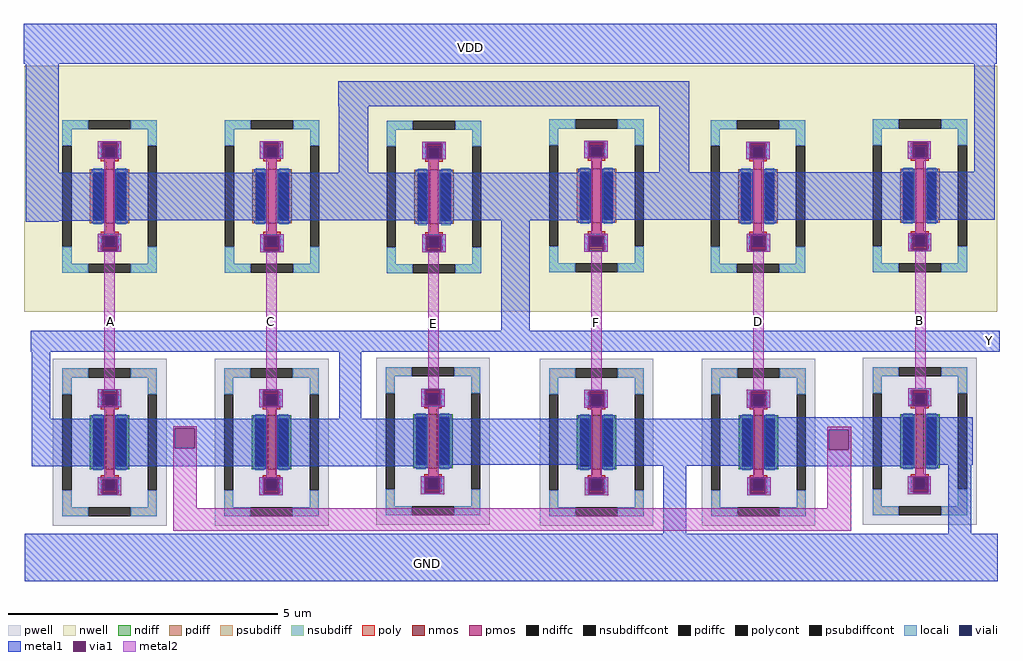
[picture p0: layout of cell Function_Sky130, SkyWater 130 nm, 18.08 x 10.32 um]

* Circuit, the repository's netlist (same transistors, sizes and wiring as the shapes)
** sch_path: /home/coold69/Documents/msvsdspwm/Week 1/xschem/Function_Sky130.sch
**.subckt Function_Sky130 A A B C C D E F B D E F E F C D A B
*.ipin A
*.ipin A
*.ipin B
*.ipin C
*.ipin C
*.ipin D
*.ipin E
*.ipin F
*.ipin B
*.ipin D
*.ipin E
*.ipin F
*.ipin E
*.ipin F
*.ipin C
*.ipin D
*.ipin A
*.ipin B
XM1 net2 B GND GND sky130_fd_pr__nfet_01v8 L=0.15 W=1 nf=1 ad='int((nf+1)/2) * W/nf * 0.29' as='int((nf+2)/2) * W/nf * 0.29'
+ pd='2*int((nf+1)/2) * (W/nf + 0.29)' ps='2*int((nf+2)/2) * (W/nf + 0.29)' nrd='0.29 / W' nrs='0.29 / W'
+ sa=0 sb=0 sd=0 mult=1 m=1
XM2 net2 D GND GND sky130_fd_pr__nfet_01v8 L=0.15 W=1 nf=1 ad='int((nf+1)/2) * W/nf * 0.29' as='int((nf+2)/2) * W/nf * 0.29'
+ pd='2*int((nf+1)/2) * (W/nf + 0.29)' ps='2*int((nf+2)/2) * (W/nf + 0.29)' nrd='0.29 / W' nrs='0.29 / W'
+ sa=0 sb=0 sd=0 mult=1 m=1
XM3 net1 F GND GND sky130_fd_pr__nfet_01v8 L=0.15 W=1 nf=1 ad='int((nf+1)/2) * W/nf * 0.29' as='int((nf+2)/2) * W/nf * 0.29'
+ pd='2*int((nf+1)/2) * (W/nf + 0.29)' ps='2*int((nf+2)/2) * (W/nf + 0.29)' nrd='0.29 / W' nrs='0.29 / W'
+ sa=0 sb=0 sd=0 mult=1 m=1
XM4 Y A net2 net2 sky130_fd_pr__nfet_01v8 L=0.15 W=1 nf=1 ad='int((nf+1)/2) * W/nf * 0.29' as='int((nf+2)/2) * W/nf * 0.29'
+ pd='2*int((nf+1)/2) * (W/nf + 0.29)' ps='2*int((nf+2)/2) * (W/nf + 0.29)' nrd='0.29 / W' nrs='0.29 / W'
+ sa=0 sb=0 sd=0 mult=1 m=1
XM5 Y C net2 net2 sky130_fd_pr__nfet_01v8 L=0.15 W=1 nf=1 ad='int((nf+1)/2) * W/nf * 0.29' as='int((nf+2)/2) * W/nf * 0.29'
+ pd='2*int((nf+1)/2) * (W/nf + 0.29)' ps='2*int((nf+2)/2) * (W/nf + 0.29)' nrd='0.29 / W' nrs='0.29 / W'
+ sa=0 sb=0 sd=0 mult=1 m=1
XM6 Y E net1 net1 sky130_fd_pr__nfet_01v8 L=0.15 W=1 nf=1 ad='int((nf+1)/2) * W/nf * 0.29' as='int((nf+2)/2) * W/nf * 0.29'
+ pd='2*int((nf+1)/2) * (W/nf + 0.29)' ps='2*int((nf+2)/2) * (W/nf + 0.29)' nrd='0.29 / W' nrs='0.29 / W'
+ sa=0 sb=0 sd=0 mult=1 m=1
XM7 Y E net3 net3 sky130_fd_pr__pfet_01v8 L=0.15 W=1 nf=1 ad='int((nf+1)/2) * W/nf * 0.29' as='int((nf+2)/2) * W/nf * 0.29'
+ pd='2*int((nf+1)/2) * (W/nf + 0.29)' ps='2*int((nf+2)/2) * (W/nf + 0.29)' nrd='0.29 / W' nrs='0.29 / W'
+ sa=0 sb=0 sd=0 mult=1 m=1
XM8 Y F net3 net3 sky130_fd_pr__pfet_01v8 L=0.15 W=1 nf=1 ad='int((nf+1)/2) * W/nf * 0.29' as='int((nf+2)/2) * W/nf * 0.29'
+ pd='2*int((nf+1)/2) * (W/nf + 0.29)' ps='2*int((nf+2)/2) * (W/nf + 0.29)' nrd='0.29 / W' nrs='0.29 / W'
+ sa=0 sb=0 sd=0 mult=1 m=1
XM9 net3 C net4 net4 sky130_fd_pr__pfet_01v8 L=0.15 W=1 nf=1 ad='int((nf+1)/2) * W/nf * 0.29' as='int((nf+2)/2) * W/nf * 0.29'
+ pd='2*int((nf+1)/2) * (W/nf + 0.29)' ps='2*int((nf+2)/2) * (W/nf + 0.29)' nrd='0.29 / W' nrs='0.29 / W'
+ sa=0 sb=0 sd=0 mult=1 m=1
XM10 net4 A VDD VDD sky130_fd_pr__pfet_01v8 L=0.15 W=1 nf=1 ad='int((nf+1)/2) * W/nf * 0.29' as='int((nf+2)/2) * W/nf * 0.29'
+ pd='2*int((nf+1)/2) * (W/nf + 0.29)' ps='2*int((nf+2)/2) * (W/nf + 0.29)' nrd='0.29 / W' nrs='0.29 / W'
+ sa=0 sb=0 sd=0 mult=1 m=1
XM11 net3 D net5 net5 sky130_fd_pr__pfet_01v8 L=0.15 W=1 nf=1 ad='int((nf+1)/2) * W/nf * 0.29' as='int((nf+2)/2) * W/nf * 0.29'
+ pd='2*int((nf+1)/2) * (W/nf + 0.29)' ps='2*int((nf+2)/2) * (W/nf + 0.29)' nrd='0.29 / W' nrs='0.29 / W'
+ sa=0 sb=0 sd=0 mult=1 m=1
XM12 net5 B VDD VDD sky130_fd_pr__pfet_01v8 L=0.15 W=1 nf=1 ad='int((nf+1)/2) * W/nf * 0.29' as='int((nf+2)/2) * W/nf * 0.29'
+ pd='2*int((nf+1)/2) * (W/nf + 0.29)' ps='2*int((nf+2)/2) * (W/nf + 0.29)' nrd='0.29 / W' nrs='0.29 / W'
+ sa=0 sb=0 sd=0 mult=1 m=1
Vdd VDD GND 1.8
.save i(vdd)
Vdd1 A GND pulse(0 1.8 0.1n 10p 10p 1n 2n)
.save i(vdd1)
Vdd2 B GND pulse(0 1.8 0.2n 10p 10p 1n 2n)
.save i(vdd2)
Vdd3 C GND pulse(0 1.8 0.3n 10p 10p 1n 2n)
.save i(vdd3)
Vdd4 D GND pulse(0 1.8 0.4n 10p 10p 1n 2n)
.save i(vdd4)
Vdd5 E GND pulse(0 1.8 0.5n 10p 10p 1n 2n)
.save i(vdd5)
Vdd6 F GND pulse(0 1.8 0.6n 10p 10p 1n 2n)
.save i(vdd6)
**** begin user architecture code


.lib ~/open_pdks/sources/sky130-pdk/libraries/sky130_fd_pr/latest/models/sky130.lib.spice tt
.control
save all
tran 10p 4n
plot y
.endc

**** end user architecture code
**.ends
.GLOBAL GND
.GLOBAL VDD
.end

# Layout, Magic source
magic
tech sky130A
magscale 1 2
<< nwell >>
rect -208 2020 3398 2704
rect -208 1946 542 2020
rect 574 1946 3398 2020
rect -208 1792 3398 1946
<< metal1 >>
rect -210 2710 3396 2858
rect -202 2306 -80 2710
rect 956 2554 2256 2646
rect 66 2420 152 2424
rect 66 2362 82 2420
rect 138 2362 152 2420
rect 66 2358 152 2362
rect 666 2420 752 2424
rect 666 2362 680 2420
rect 736 2362 752 2420
rect 666 2358 752 2362
rect 958 2306 1068 2554
rect 1868 2422 1954 2426
rect 1268 2416 1354 2422
rect 1268 2358 1284 2416
rect 1340 2358 1354 2416
rect 1868 2364 1884 2422
rect 1940 2364 1954 2422
rect 1868 2360 1954 2364
rect 1268 2356 1354 2358
rect 2146 2308 2256 2554
rect 2468 2418 2554 2422
rect 2468 2360 2482 2418
rect 2538 2360 2554 2418
rect 2468 2356 2554 2360
rect 3066 2420 3152 2424
rect 3066 2362 3084 2420
rect 3140 2362 3152 2420
rect 3066 2358 3152 2362
rect 3312 2310 3388 2710
rect -202 2128 82 2306
rect 136 2130 686 2306
rect 738 2130 1288 2306
rect 1340 2130 1890 2306
rect 1942 2132 2492 2308
rect 2538 2132 3088 2308
rect 3138 2132 3388 2310
rect -202 2126 -80 2128
rect 66 2074 152 2080
rect 66 2016 82 2074
rect 138 2016 152 2074
rect 66 2014 152 2016
rect 668 2074 754 2078
rect 668 2016 682 2074
rect 738 2016 754 2074
rect 668 2012 754 2016
rect 1268 2074 1354 2078
rect 1268 2016 1282 2074
rect 1338 2016 1354 2074
rect 1268 2012 1354 2016
rect 1560 1722 1666 2130
rect 1868 2074 1954 2080
rect 1868 2016 1884 2074
rect 1940 2016 1954 2074
rect 1868 2014 1954 2016
rect 2470 2076 2556 2080
rect 2470 2018 2484 2076
rect 2540 2018 2556 2076
rect 2470 2014 2556 2018
rect 3068 2078 3154 2082
rect 3068 2020 3082 2078
rect 3138 2020 3154 2078
rect 3068 2016 3154 2020
rect -184 1644 3406 1722
rect -180 1396 -110 1644
rect 66 1502 152 1504
rect 66 1444 82 1502
rect 138 1444 152 1502
rect 66 1438 152 1444
rect 664 1500 750 1504
rect 664 1442 678 1500
rect 734 1442 750 1500
rect 664 1438 750 1442
rect 960 1396 1042 1644
rect 1264 1504 1350 1506
rect 1264 1446 1278 1504
rect 1334 1446 1350 1504
rect 1264 1440 1350 1446
rect 1868 1498 1954 1502
rect 1868 1440 1886 1498
rect 1942 1440 1954 1498
rect 1868 1436 1954 1440
rect 2470 1498 2556 1502
rect 2470 1440 2484 1498
rect 2540 1440 2556 1498
rect 3068 1500 3154 1508
rect 3068 1442 3082 1500
rect 3138 1442 3154 1500
rect 2470 1436 2556 1440
rect -180 1220 84 1396
rect 136 1360 682 1396
rect 136 1286 350 1360
rect 424 1286 682 1360
rect 136 1220 682 1286
rect 736 1220 1282 1396
rect 1334 1224 1886 1396
rect 1940 1222 2486 1396
rect 2540 1354 3084 1400
rect 2540 1280 2774 1354
rect 2848 1280 3084 1354
rect 1262 1178 1348 1182
rect 66 1172 152 1178
rect 66 1114 82 1172
rect 138 1114 152 1172
rect 66 1112 152 1114
rect 664 1174 750 1178
rect 664 1116 680 1174
rect 736 1116 750 1174
rect 1262 1120 1276 1178
rect 1332 1120 1348 1178
rect 1262 1116 1348 1120
rect 1870 1174 1956 1178
rect 1870 1116 1884 1174
rect 1940 1116 1956 1174
rect 664 1112 750 1116
rect 1870 1112 1956 1116
rect 2160 970 2246 1222
rect 2540 1220 3084 1280
rect 3138 1224 3306 1400
rect 3066 1180 3152 1182
rect 2472 1174 2558 1178
rect 2472 1116 2482 1174
rect 2538 1116 2558 1174
rect 3066 1122 3086 1180
rect 3142 1122 3152 1180
rect 3066 1116 3152 1122
rect 2472 1112 2558 1116
rect 3216 970 3302 1224
rect -206 794 3400 970
<< via1 >>
rect 82 2362 138 2420
rect 680 2362 736 2420
rect 1284 2358 1340 2416
rect 1884 2364 1940 2422
rect 2482 2360 2538 2418
rect 3084 2362 3140 2420
rect 82 2016 138 2074
rect 682 2016 738 2074
rect 1282 2016 1338 2074
rect 1884 2016 1940 2074
rect 2484 2018 2540 2076
rect 3082 2020 3138 2078
rect 82 1444 138 1502
rect 678 1442 734 1500
rect 1278 1446 1334 1504
rect 1886 1440 1942 1498
rect 2484 1440 2540 1498
rect 3082 1442 3138 1500
rect 350 1286 424 1360
rect 2774 1280 2848 1354
rect 82 1114 138 1172
rect 680 1116 736 1174
rect 1276 1120 1332 1178
rect 1884 1116 1940 1174
rect 2482 1116 2538 1174
rect 3086 1122 3142 1180
<< metal2 >>
rect 66 2420 152 2424
rect 66 2362 82 2420
rect 138 2362 152 2420
rect 66 2358 152 2362
rect 666 2420 752 2424
rect 1868 2422 1954 2426
rect 666 2362 680 2420
rect 736 2362 752 2420
rect 666 2358 752 2362
rect 1268 2416 1354 2422
rect 1268 2358 1284 2416
rect 1340 2358 1354 2416
rect 1868 2364 1884 2422
rect 1940 2364 1954 2422
rect 1868 2360 1954 2364
rect 2468 2418 2554 2422
rect 2468 2360 2482 2418
rect 2538 2360 2554 2418
rect 90 2080 128 2358
rect 66 2074 152 2080
rect 690 2078 728 2358
rect 1268 2356 1354 2358
rect 1290 2078 1328 2356
rect 1894 2080 1932 2360
rect 2468 2356 2554 2360
rect 3066 2420 3152 2424
rect 3066 2362 3084 2420
rect 3140 2362 3152 2420
rect 3066 2358 3152 2362
rect 2494 2080 2532 2356
rect 3094 2082 3132 2358
rect 66 2016 82 2074
rect 138 2016 152 2074
rect 66 2014 152 2016
rect 668 2074 754 2078
rect 668 2016 682 2074
rect 738 2016 754 2074
rect 90 1504 128 2014
rect 668 2012 754 2016
rect 1268 2074 1354 2078
rect 1268 2016 1282 2074
rect 1338 2016 1354 2074
rect 1268 2012 1354 2016
rect 1868 2074 1954 2080
rect 1868 2016 1884 2074
rect 1940 2016 1954 2074
rect 1868 2014 1954 2016
rect 2470 2076 2556 2080
rect 2470 2018 2484 2076
rect 2540 2018 2556 2076
rect 2470 2014 2556 2018
rect 3068 2078 3154 2082
rect 3068 2020 3082 2078
rect 3138 2020 3154 2078
rect 3068 2016 3154 2020
rect 690 1504 728 2012
rect 1290 1506 1328 2012
rect 1264 1504 1350 1506
rect 66 1502 152 1504
rect 66 1444 82 1502
rect 138 1444 152 1502
rect 66 1438 152 1444
rect 664 1500 750 1504
rect 664 1442 678 1500
rect 734 1442 750 1500
rect 664 1438 750 1442
rect 1264 1446 1278 1504
rect 1334 1446 1350 1504
rect 1894 1502 1932 2014
rect 2494 1502 2532 2014
rect 3094 1508 3132 2016
rect 1264 1440 1350 1446
rect 1868 1498 1954 1502
rect 1868 1440 1886 1498
rect 1942 1440 1954 1498
rect 90 1178 128 1438
rect 344 1360 432 1368
rect 344 1286 350 1360
rect 424 1286 432 1360
rect 66 1172 152 1178
rect 66 1114 82 1172
rect 138 1114 152 1172
rect 66 1112 152 1114
rect 344 1064 432 1286
rect 690 1178 728 1438
rect 1290 1182 1328 1440
rect 1868 1436 1954 1440
rect 2470 1498 2556 1502
rect 2470 1440 2484 1498
rect 2540 1440 2556 1498
rect 3068 1500 3154 1508
rect 3068 1442 3082 1500
rect 3138 1442 3154 1500
rect 2470 1436 2556 1440
rect 1262 1178 1348 1182
rect 1894 1178 1932 1436
rect 2494 1178 2532 1436
rect 2768 1354 2856 1366
rect 2768 1280 2774 1354
rect 2848 1280 2856 1354
rect 664 1174 750 1178
rect 664 1116 680 1174
rect 736 1116 750 1174
rect 1262 1120 1276 1178
rect 1332 1120 1348 1178
rect 1262 1116 1348 1120
rect 1870 1174 1956 1178
rect 1870 1116 1884 1174
rect 1940 1116 1956 1174
rect 664 1112 750 1116
rect 1870 1112 1956 1116
rect 2472 1174 2558 1178
rect 2472 1116 2482 1174
rect 2538 1116 2558 1174
rect 2472 1112 2558 1116
rect 2768 1064 2856 1280
rect 3094 1182 3132 1442
rect 3066 1180 3152 1182
rect 3066 1122 3086 1180
rect 3142 1122 3152 1180
rect 3066 1116 3152 1122
rect 344 980 2856 1064
use sky130_fd_pr__nfet_01v8_648S5X  XM1
transform 1 0 109 0 1 1308
box -211 -310 211 310
use sky130_fd_pr__nfet_01v8_648S5X  XM2
transform 1 0 709 0 1 1308
box -211 -310 211 310
use sky130_fd_pr__nfet_01v8_648S5X  XM3
transform 1 0 1307 0 1 1312
box -211 -310 211 310
use sky130_fd_pr__nfet_01v8_648S5X  XM4
transform 1 0 1913 0 1 1308
box -211 -310 211 310
use sky130_fd_pr__nfet_01v8_648S5X  XM5
transform 1 0 3111 0 1 1312
box -211 -310 211 310
use sky130_fd_pr__nfet_01v8_648S5X  XM6
transform 1 0 2513 0 1 1308
box -211 -310 211 310
use sky130_fd_pr__pfet_01v8_XGS3BL  XM7
transform 1 0 1311 0 1 2217
box -211 -319 211 319
use sky130_fd_pr__pfet_01v8_XGS3BL  XM8
transform 1 0 1913 0 1 2221
box -211 -319 211 319
use sky130_fd_pr__pfet_01v8_XGS3BL  XM9
transform 1 0 109 0 1 2219
box -211 -319 211 319
use sky130_fd_pr__pfet_01v8_XGS3BL  XM10
transform 1 0 711 0 1 2219
box -211 -319 211 319
use sky130_fd_pr__pfet_01v8_XGS3BL  XM11
transform 1 0 3111 0 1 2221
box -211 -319 211 319
use sky130_fd_pr__pfet_01v8_XGS3BL  XM12
transform 1 0 2511 0 1 2219
box -211 -319 211 319
<< labels >>
flabel metal1 1286 860 1286 860 0 FreeSans 640 0 0 0 GND
port 9 nsew
flabel metal1 1446 2772 1446 2772 0 FreeSans 640 0 0 0 VDD
port 8 nsew
rlabel metal2 112 1756 112 1756 1 A
port 1 n
rlabel metal2 706 1754 706 1754 1 C
port 2 n
rlabel metal2 1308 1748 1308 1748 1 E
port 3 n
rlabel metal2 1912 1752 1912 1752 1 F
port 4 n
rlabel metal2 2514 1754 2514 1754 1 D
port 5 n
rlabel metal2 3110 1758 3110 1758 1 B
port 6 n
rlabel metal1 3370 1684 3370 1684 1 Y
port 7 n
<< end >>

# cell sky130_fd_pr__nfet_01v8_648S5X: kit device sky130_fd_pr__nfet_01v8, w 1.0 l 0.15 m 1 nf 1 diffcov 100 polycov 100 guard 1 glc 1 grc 1 gtc 1 gbc 1 tbcov 100 rlcov 100 topc 1 botc 1 poverlap 0 doverlap 1 lmin 0.15 wmin 0.42 compatible {sky130_fd_pr__nfet_01v8 sky130_fd_pr__nfet_01v8_lvt sky130_fd_bs_flash__special_sonosfet_star sky130_fd_pr__nfet_g5v0d10v5 sky130_fd_pr__nfet_05v0_nvt sky130_fd_pr__nfet_03v3_nvt} full_metal 1 viasrc 100 viadrn 100 viagate 100 viagb 0 viagr 0 viagl 0 viagt 0

# cell sky130_fd_pr__pfet_01v8_XGS3BL: kit device sky130_fd_pr__pfet_01v8, w 1.0 l 0.15 m 1 nf 1 diffcov 100 polycov 100 guard 1 glc 1 grc 1 gtc 1 gbc 1 tbcov 100 rlcov 100 topc 1 botc 1 poverlap 0 doverlap 1 lmin 0.15 wmin 0.42 compatible {sky130_fd_pr__pfet_01v8 sky130_fd_pr__pfet_01v8_lvt sky130_fd_pr__pfet_01v8_hvt sky130_fd_pr__pfet_g5v0d10v5} full_metal 1 viasrc 100 viadrn 100 viagate 100 viagb 0 viagr 0 viagl 0 viagt 0
